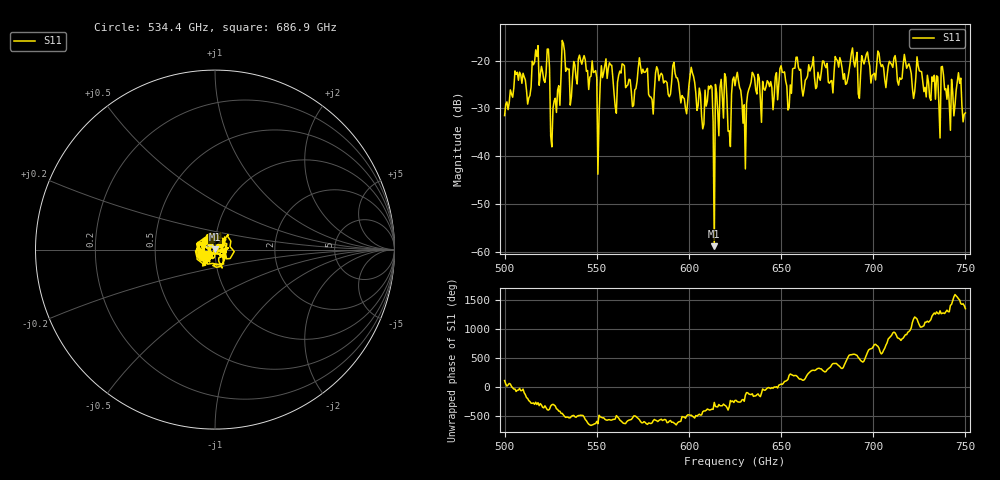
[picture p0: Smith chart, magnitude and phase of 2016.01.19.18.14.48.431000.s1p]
!Created with skrf (http://scikit-rf.org).
# GHz S RI R 50.0
!freq ReS11 ImS11
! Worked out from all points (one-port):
!   401 points, 500 GHz to 750 GHz, reference 50 ohm
!   lowest |S11| = -58.8 dB at 613.8 GHz (marker M1), VSWR 1.00, Z = 50 + j0.113 ohm
!   |S11| at or under -10 dB: start of sweep to end of sweep
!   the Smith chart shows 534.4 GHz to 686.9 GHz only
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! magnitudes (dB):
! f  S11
! 500 GHz  -31.5
! 506.9 GHz  -22.4
! 513.1 GHz  -27.8
! 516.9 GHz  -17.7
! 523.1 GHz  -17.6
! 526.2 GHz  -30.0
! 531.2 GHz  -15.8
! 548.8 GHz  -22.3
! 550.6 GHz  -43.8
! 553.8 GHz  -22.5
! 562.5 GHz  -22.2
! 593.8 GHz  -23.6
! 598.1 GHz  -30.0
! 601.9 GHz  -22.6
! 608.1 GHz  -33.3
! 611.2 GHz  -25.9
! 613.8 GHz  -58.8
! 618.8 GHz  -32.0
! 621.9 GHz  -34.7
! 625 GHz  -25.2
! 630 GHz  -29.2
! 634.4 GHz  -22.4
! 656.2 GHz  -21.7
! 687.5 GHz  -20.4
! 718.8 GHz  -21.0
! 742.5 GHz  -23.9
! 746.2 GHz  -22.5
! 750 GHz  -30.9
